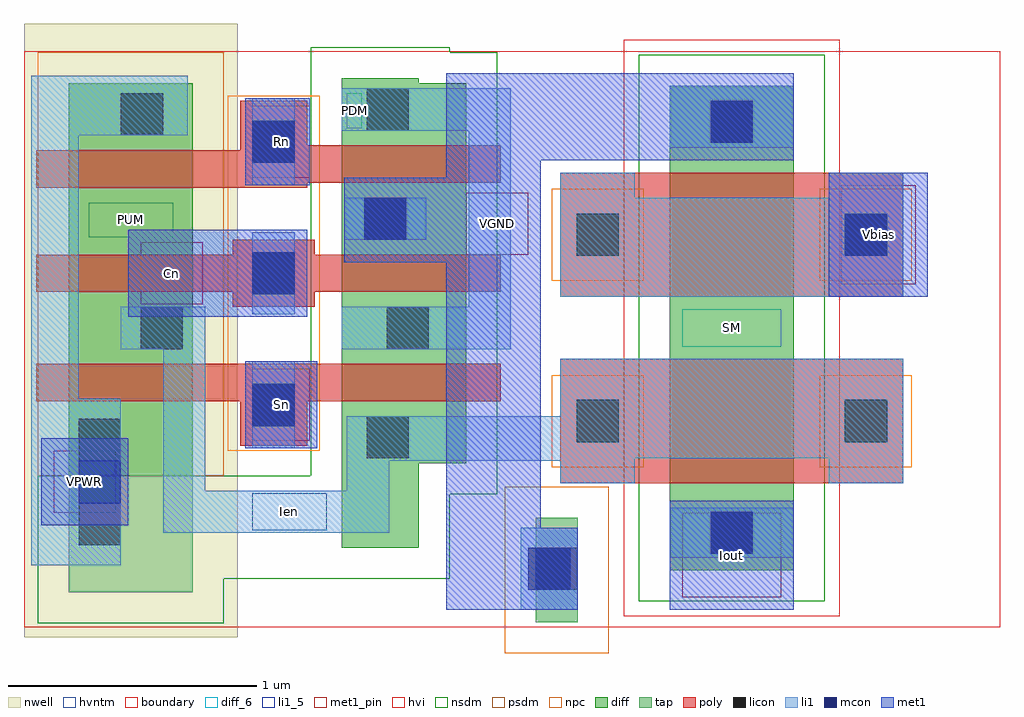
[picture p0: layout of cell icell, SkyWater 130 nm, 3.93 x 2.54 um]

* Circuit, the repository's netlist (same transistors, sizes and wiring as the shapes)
* SPICE3 file created from icell.ext - technology: sky130A
.lib "/home/jaycam/pdk/sky130A/libs.tech/ngspice/sky130.lib.spice" tt
.include "/home/jaycam/pdk/sky130A/libs.ref/sky130_fd_sc_hd/spice/sky130_fd_sc_hd.spice"

X0 PDM Sn Ien VGND sky130_fd_pr__nfet_01v8 ad=0.0725 pd=0.79 as=0.2304 ps=2.18 w=0.5 l=0.15
X1 VPWR Rn PUM VPWR sky130_fd_pr__pfet_01v8 ad=0.135 pd=1.54 as=0.0675 ps=0.77 w=0.5 l=0.15
X2 SM Ien Iout VGND sky130_fd_pr__nfet_g5v0d10v5 ad=0.0625 pd=0.75 as=0.175 ps=1.7 w=0.5 l=0.5
X3 Ien Sn VPWR VPWR sky130_fd_pr__pfet_01v8 ad=0.0725 pd=0.79 as=0.15 ps=1.6 w=0.5 l=0.15
X4 VGND Cn PDM VGND sky130_fd_pr__nfet_01v8 ad=0.0725 pd=0.79 as=0.0725 ps=0.79 w=0.5 l=0.15
X5 PDM Rn VGND VGND sky130_fd_pr__nfet_01v8 ad=0.1312 pd=1.54 as=0.0725 ps=0.79 w=0.5 l=0.15
X6 VGND Vbias SM VGND sky130_fd_pr__nfet_g5v0d10v5 ad=0.175 pd=1.7 as=0.0625 ps=0.75 w=0.5 l=0.5
X7 PUM Cn Ien VPWR sky130_fd_pr__pfet_01v8 ad=0.0675 pd=0.77 as=0.0725 ps=0.79 w=0.5 l=0.15

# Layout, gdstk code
import gdstk
lib = gdstk.Library(unit=1e-6, precision=1e-09)
def R(c, l, rs):  # rectangles x0, y0, x1, y1
    for r in rs: c.add(gdstk.rectangle(r[:2], r[2:], *l))
def A(c, l, x, y, w, h, nx, ny, dx, dy):  # array of equal rectangles
    R(c, l, [(x+i*dx, y+j*dy, x+i*dx+w, y+j*dy+h) for i in range(nx) for j in range(ny)])
nwell = (64, 20)
diff_6 = (65, 6)
diff = (65, 20)
tap = (65, 44)
poly = (66, 20)
licon = (66, 44)
li1_5 = (67, 5)
li1 = (67, 20)
mcon = (67, 44)
met1_pin = (68, 16)
met1 = (68, 20)
hvi = (75, 20)
nsdm = (93, 44)
psdm = (94, 20)
npc = (95, 20)
hvntm = (125, 20)
boundary = (235, 4)

icell = lib.new_cell('icell')
R(icell, nwell, [(0,-0.04,0.86,2.43)])
R(icell, diff_6, [(2.65,1.13,3.05,1.28), (0.26,1.57,0.6,1.71)])
R(icell, diff, [(2.6,0.23,3.1,2.18), (1.28,0.32,1.59,0.66), (0.18,0.61,0.68,2.19), (1.28,0.66,1.78,2.19), (1.28,2.19,1.59,2.21)])
R(icell, tap, [(2.06,0.02,2.23,0.44), (0.18,0.14,0.68,0.61)])
R(icell, poly, [(2.16,0.58,3.54,1.08), (0.87,0.73,1.14,0.91), (0.05,0.91,1.92,1.06), (0.84,1.29,1.17,1.35), (2.16,1.33,3.54,1.83), (0.05,1.35,1.92,1.5), (0.84,1.5,1.17,1.56), (0.05,1.77,1.14,1.79), (0.05,1.79,1.92,1.92), (0.87,1.92,1.92,1.94), (0.87,1.94,1.14,2.12)])
A(icell, licon, 0.92, 0.81, 0.17, 0.17, 1, 3, 0, 0.53)
R(icell, licon, [(2.06,0.15,2.23,0.32), (2.765,0.295,2.935,0.465), (0.22,0.33,0.39,0.5), (0.22,0.67,0.39,0.84), (1.38,0.68,1.55,0.85), (2.225,0.745,2.395,0.915), (3.305,0.745,3.475,0.915), (0.47,1.12,0.64,1.29), (1.46,1.12,1.63,1.29), (2.225,1.495,2.395,1.665), (3.305,1.495,3.475,1.665), (1.37,1.56,1.54,1.73), (2.765,1.95,2.935,2.12), (0.39,1.98,0.56,2.15), (1.38,2,1.55,2.17)])
R(icell, li1_5, [(0.92,0.39,1.22,0.54), (1.3,2.01,1.36,2.15)])
R(icell, li1, [(2,0.07,2.23,0.4), (0.03,0.25,0.39,0.92), (2.6,0.28,3.1,0.48), (0.56,0.38,1.47,0.55), (0.56,0.55,0.73,1.12), (1.3,0.55,1.47,0.67), (2.16,0.58,2.46,0.67), (3.24,0.58,3.54,0.68), (1.3,0.67,2.46,0.68), (1.3,0.68,3.54,0.85), (0.92,0.72,1.09,1.07), (2.16,0.85,3.54,1.08), (0.03,0.92,0.22,1.98), (0.39,1.12,0.73,1.29), (1.28,1.12,1.96,1.29), (0.92,1.26,1.09,1.59), (1.79,1.29,1.96,2), (2.16,1.33,3.54,1.73), (1.29,1.56,1.62,1.73), (2.16,1.73,2.46,1.83), (3.24,1.73,3.54,1.83), (0.92,1.78,1.09,2.13), (2.6,1.93,3.1,2.18), (0.03,1.98,0.66,2.22), (1.28,2,1.96,2.17)])
A(icell, mcon, 0.92, 0.81, 0.17, 0.17, 1, 3, 0, 0.53)
R(icell, mcon, [(2.03,0.15,2.2,0.32), (2.765,0.295,2.935,0.465), (0.22,0.5,0.39,0.67), (3.305,1.495,3.475,1.665), (1.37,1.56,1.54,1.73), (2.765,1.95,2.935,2.12)])
R(icell, met1_pin, [(2.65,0.12,3.05,0.46), (0.12,0.46,0.37,0.71), (0.92,0.75,1.15,1.04), (0.47,1.3,0.72,1.55), (3.29,1.38,3.59,1.78), (1.78,1.5,2.03,1.75), (0.92,1.81,1.15,2.1)])
R(icell, met1, [(1.7,0.07,2.23,0.4), (2.6,0.07,3.1,0.51), (1.7,0.4,2.08,1.47), (0.07,0.41,0.42,0.76), (0.89,0.72,1.18,1.07), (0.42,1.25,1.14,1.6), (3.24,1.33,3.64,1.83), (1.29,1.47,2.08,1.81), (0.89,1.78,1.15,2.13), (1.7,1.81,2.08,1.88), (1.7,1.88,3.1,2.23)])
R(icell, hvi, [(2.415,0.045,3.285,2.365)])
R(icell, nsdm, [(0.055,0.015,0.805,0.195), (2.475,0.105,3.225,2.305), (0.055,0.195,1.715,0.535), (0.055,0.535,1.905,0.61), (1.155,0.61,1.905,2.315), (1.155,2.315,1.715,2.335)])
R(icell, psdm, [(1.935,-0.105,2.355,0.565), (0.055,0.61,0.805,2.315)])
R(icell, npc, [(2.125,0.645,2.495,1.015), (3.205,0.645,3.575,1.015), (0.82,0.71,1.19,2.14), (2.125,1.395,2.495,1.765), (3.205,1.395,3.575,1.765)])
R(icell, hvntm, [(2.415,0.045,3.285,2.365)])
R(icell, boundary, [(0,0,3.93,2.32)])
icell.add(gdstk.Label('SM', (2.85,1.205), layer=65, texttype=6))
icell.add(gdstk.Label('PUM', (0.43,1.64), layer=65, texttype=6))
icell.add(gdstk.Label('Ien', (1.07,0.465), layer=67, texttype=5))
icell.add(gdstk.Label('PDM', (1.33,2.08), layer=67, texttype=5))
icell.add(gdstk.Label('Vbias', (3.44,1.58), layer=68, texttype=5))
icell.add(gdstk.Label('VGND', (1.905,1.625), layer=68, texttype=5))
icell.add(gdstk.Label('Iout', (2.85,0.29), layer=68, texttype=5))
icell.add(gdstk.Label('Cn', (0.595,1.425), layer=68, texttype=5))
icell.add(gdstk.Label('VPWR', (0.245,0.585), layer=68, texttype=5))
icell.add(gdstk.Label('Sn', (1.035,0.895), layer=68, texttype=5))
icell.add(gdstk.Label('Rn', (1.035,1.955), layer=68, texttype=5))

lib.write_gds('icell.gds')
